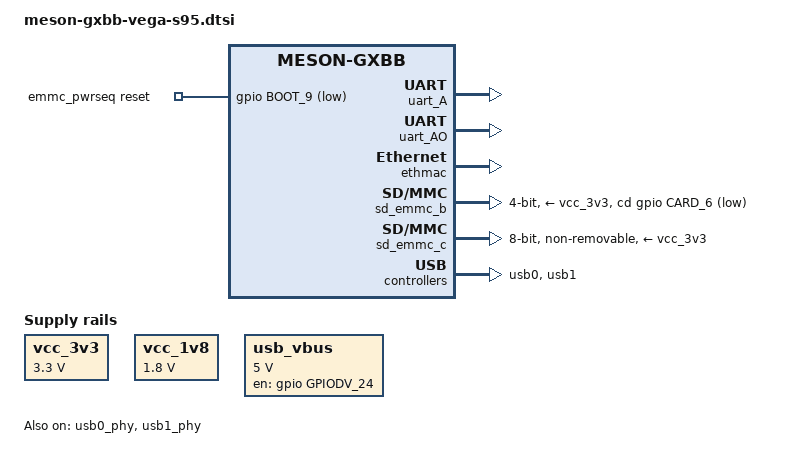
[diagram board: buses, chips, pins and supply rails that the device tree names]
/*
 * Copyright (c) 2016 Andreas Färber
 *
 * This file is dual-licensed: you can use it either under the terms
 * of the GPL or the X11 license, at your option. Note that this dual
 * licensing only applies to this file, and not this project as a
 * whole.
 *
 *  a) This library is free software; you can redistribute it and/or
 *     modify it under the terms of the GNU General Public License as
 *     published by the Free Software Foundation; either version 2 of the
 *     License, or (at your option) any later version.
 *
 *     This library is distributed in the hope that it will be useful,
 *     but WITHOUT ANY WARRANTY; without even the implied warranty of
 *     MERCHANTABILITY or FITNESS FOR A PARTICULAR PURPOSE.  See the
 *     GNU General Public License for more details.
 *
 * Or, alternatively,
 *
 *  b) Permission is hereby granted, free of charge, to any person
 *     obtaining a copy of this software and associated documentation
 *     files (the "Software"), to deal in the Software without
 *     restriction, including without limitation the rights to use,
 *     copy, modify, merge, publish, distribute, sublicense, and/or
 *     sell copies of the Software, and to permit persons to whom the
 *     Software is furnished to do so, subject to the following
 *     conditions:
 *
 *     The above copyright notice and this permission notice shall be
 *     included in all copies or substantial portions of the Software.
 *
 *     THE SOFTWARE IS PROVIDED "AS IS", WITHOUT WARRANTY OF ANY KIND,
 *     EXPRESS OR IMPLIED, INCLUDING BUT NOT LIMITED TO THE WARRANTIES
 *     OF MERCHANTABILITY, FITNESS FOR A PARTICULAR PURPOSE AND
 *     NONINFRINGEMENT. IN NO EVENT SHALL THE AUTHORS OR COPYRIGHT
 *     HOLDERS BE LIABLE FOR ANY CLAIM, DAMAGES OR OTHER LIABILITY,
 *     WHETHER IN AN ACTION OF CONTRACT, TORT OR OTHERWISE, ARISING
 *     FROM, OUT OF OR IN CONNECTION WITH THE SOFTWARE OR THE USE OR
 *     OTHER DEALINGS IN THE SOFTWARE.
 */

#include "meson-gxbb.dtsi"

/ {
	compatible = "tronsmart,vega-s95", "amlogic,meson-gxbb";

	aliases {
		serial0 = &uart_AO;
		serial1 = &uart_A;
	};

	chosen {
		stdout-path = "serial0:115200n8";
	};

	vcc_3v3: regulator@0 {
		compatible = "regulator-fixed";

		regulator-name = "VCC3V3";
		regulator-min-microvolt = <3300000>;
		regulator-max-microvolt = <3300000>;

		regulator-always-on;
	};

	vcc_1v8: regulator@1 {
		compatible = "regulator-fixed";

		regulator-name = "VCC1V8";
		regulator-min-microvolt = <1800000>;
		regulator-max-microvolt = <1800000>;

		regulator-always-on;
	};

	usb_vbus: regulator@2 {
		compatible = "regulator-fixed";

		regulator-name = "USB0_VBUS";

		regulator-min-microvolt = <5000000>;
		regulator-max-microvolt = <5000000>;

		gpio = <&gpio GPIODV_24 GPIO_ACTIVE_HIGH>;
		enable-active-high;
	};

	emmc_pwrseq: emmc-pwrseq {
		compatible = "mmc-pwrseq-emmc";
		reset-gpios = <&gpio BOOT_9 GPIO_ACTIVE_LOW>;
	};
};

&uart_A {
	status = "okay";
	pinctrl-0 = <&uart_a_pins>;
	pinctrl-names = "default";
};

&uart_AO {
	status = "okay";
	pinctrl-0 = <&uart_ao_a_pins>;
	pinctrl-names = "default";

};

&ethmac {
	status = "okay";
	pinctrl-0 = <&eth_pins>;
	pinctrl-names = "default";
};

&sd_emmc_b {
	status = "okay";
	pinctrl-0 = <&sdcard_pins>;
	pinctrl-names = "default";

	bus-width = <4>;
	cap-sd-highspeed;
	max-frequency = <100000000>;

	cd-gpios = <&gpio CARD_6 GPIO_ACTIVE_HIGH>;
	cd-inverted;

	vmmc-supply = <&vcc_3v3>;
	voltage-ranges = <3300 3300>;
};

&sd_emmc_c {
	status = "okay";
	pinctrl-0 = <&emmc_pins>;
	pinctrl-names = "default";

	bus-width = <8>;
	cap-sd-highspeed;
	cap-mmc-highspeed;
	max-frequency = <200000000>;
	non-removable;
	disable-wp;
	mmc-ddr-1_8v;
	mmc-hs200-1_8v;

	mmc-pwrseq = <&emmc_pwrseq>;
	voltage-ranges = <1800 3300>;
	vmmc-supply = <&vcc_3v3>;
	vmmcq-sumpply = <&vcc_1v8>;
};

&usb0_phy {
	status = "okay";
	phy-supply = <&usb_vbus>;
};

&usb1_phy {
	status = "okay";
};

&usb0 {
	status = "okay";
};

&usb1 {
	status = "okay";
};
